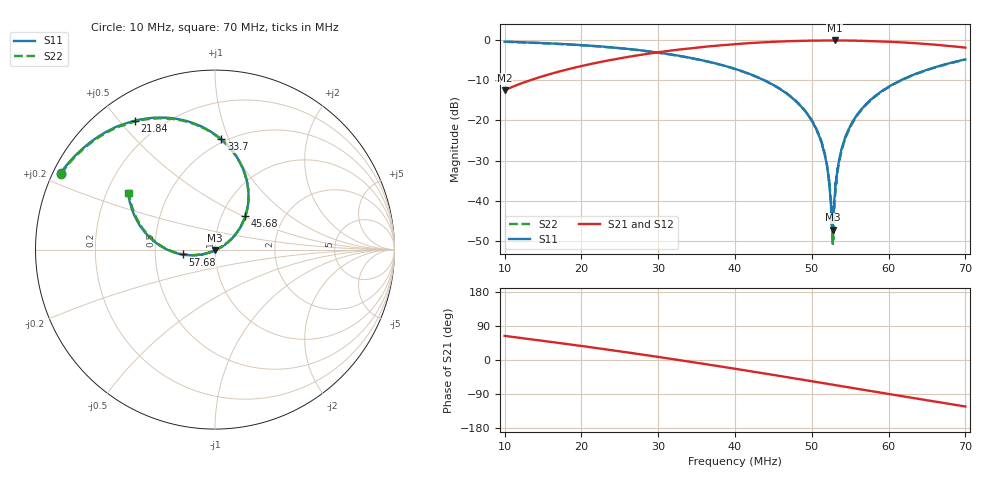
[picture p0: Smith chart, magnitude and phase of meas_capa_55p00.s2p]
#  HZ  S  RI  R  50.00
! Rohde & Schwarz ZVT8 8Ports - Version 4.11 - 1300.0000k08 SN: 100242
! Date: 2026-07-13 14:03:19
! Measurements: S11 S21 S12 S22
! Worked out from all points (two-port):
!   3001 points, 10 MHz to 70 MHz, reference 50 ohm
!   highest |S21| = -0.07 dB at 52.96 MHz (marker M1); lowest = -12.5 dB at 10 MHz (marker M2)
!   |S21| within 3 dB of the highest: 29.81 MHz to end of sweep
!   lowest |S11| = -47.2 dB at 52.7 MHz (marker M3), VSWR 1.01, Z = 50.1 - j0.429 ohm
!   |S11| at or under -10 dB: 43.81 MHz to 61.58 MHz (17.77 MHz wide, 33.7 % of centre)
!   |S22| runs from -51.3 to -0.4 dB; largest |S21 - S12| = 0.0018
!   S11 on the Smith chart (normalised r, x): 10 MHz: 0.02, +0.23; 21.84 MHz: 0.11, +0.55; 33.7 MHz: 0.48, +0.94; 45.68 MHz: 1.29, +0.52; 57.68 MHz: 0.69, -0.04; 70 MHz: 0.29, +0.27
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1e7  -0.8588 0.4265  0.1056 0.2131  0.1059 0.2128  -0.8563 0.4236
2e7  -0.521 0.6954  0.3803 0.2862  0.3799 0.2856  -0.5196 0.6916
2.184e7  -0.4449 0.7187  0.4412 0.2754  0.4406 0.2749  -0.4446 0.7138
3e7  -0.0955 0.6949  0.6992 0.0997  0.6993 0.0993  -0.0956 0.6912
3.37e7  0.0361 0.614  0.7816 -0.0445  0.7811 -0.044  0.0357 0.6118
4e7  0.172 0.4036  0.8202 -0.3502  0.8199 -0.3502  0.1718 0.4036
4.568e7  0.1698 0.1876  0.7178 -0.6384  0.7171 -0.6378  0.1693 0.1897
4.818e7  0.1282 0.1021  0.63 -0.7497  0.6294 -0.7488  0.1287 0.1054
5e7  0.0838 0.0514  0.5515 -0.819  0.5511 -0.8185  0.0852 0.0539
5.104e7  0.0546 0.0262  0.5024 -0.8537  0.5016 -0.8528  0.0548 0.0293
5.174e7  0.033 0.012  0.4675 -0.8745  0.4668 -0.8739  0.0339 0.0142
5.216e7  0.0187 0.00471  0.4461 -0.8859  0.4454 -0.8853  0.02 0.00662
5.25e7  0.00808 -0.00104  0.4278 -0.8948  0.4281 -0.8943  0.00941 0.00133
5.27e7  0.000773 -0.00429  0.4175 -0.9002  0.4174 -0.8989  0.00246 -0.00216
5.296e7  -0.00749 -0.00786  0.404 -0.9065  0.4035 -0.9051  -0.0065 -0.00634
5.322e7  -0.0158 -0.0118  0.3901 -0.9119  0.3895 -0.9113  -0.0152 -0.00986
5.344e7  -0.0236 -0.0149  0.378 -0.9167  0.3778 -0.9161  -0.0229 -0.0129
5.426e7  -0.0531 -0.0234  0.333 -0.933  0.3328 -0.9317  -0.0517 -0.0215
5.562e7  -0.1023 -0.0309  0.2567 -0.9524  0.2566 -0.9514  -0.1015 -0.0294
5.768e7  -0.1794 -0.0272  0.1386 -0.9655  0.1383 -0.9644  -0.1768 -0.0266
6e7  -0.2627 -0.00185  0.0067 -0.9566  0.00694 -0.956  -0.2592 -0.00111
7e7  -0.4841 0.3135  -0.4367 -0.6795  -0.436 -0.6796  -0.479 0.3134
